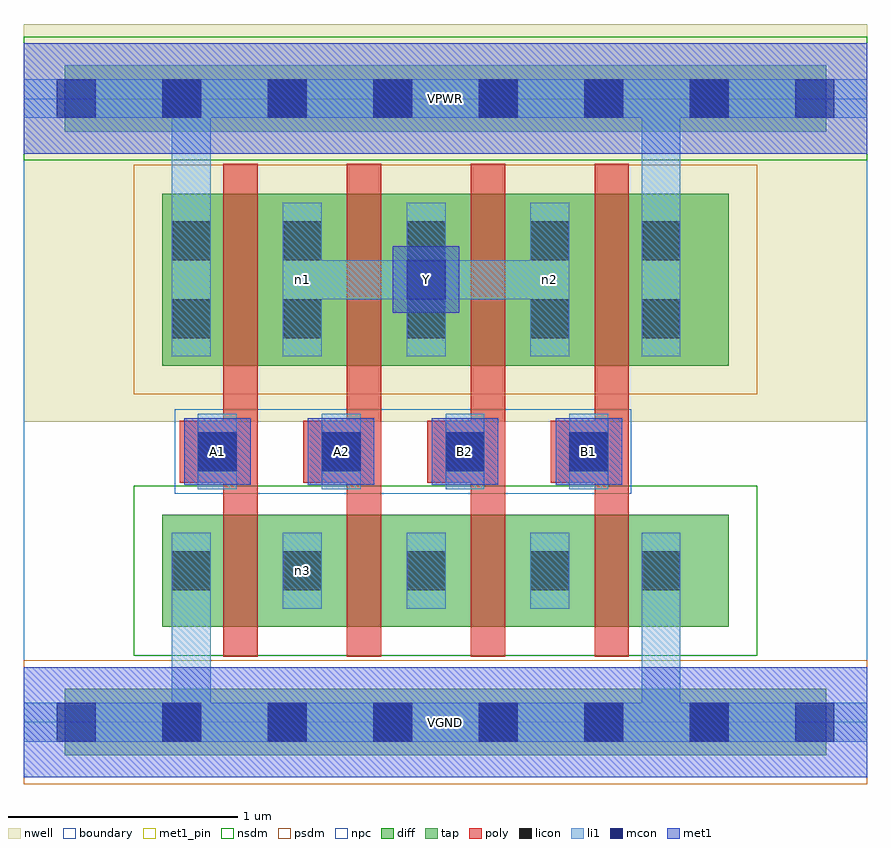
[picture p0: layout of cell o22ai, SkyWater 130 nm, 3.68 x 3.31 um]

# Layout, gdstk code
import gdstk
lib = gdstk.Library(unit=1e-6, precision=1e-09)
def R(c, l, rs):  # rectangles x0, y0, x1, y1
    for r in rs: c.add(gdstk.rectangle(r[:2], r[2:], *l))
def A(c, l, x, y, w, h, nx, ny, dx, dy):  # array of equal rectangles
    R(c, l, [(x+i*dx, y+j*dy, x+i*dx+w, y+j*dy+h) for i in range(nx) for j in range(ny)])
nwell = (64, 20)
diff = (65, 20)
tap = (65, 44)
poly = (66, 20)
licon = (66, 44)
li1 = (67, 20)
mcon = (67, 44)
met1_pin = (68, 16)
met1 = (68, 20)
nsdm = (93, 44)
psdm = (94, 20)
npc = (95, 20)
boundary = (235, 4)

o22ai = lib.new_cell('o22ai')
R(o22ai, nwell, [(0,1.31,3.68,3.045)])
R(o22ai, diff, [(0.605,0.415,3.075,0.905), (0.605,1.555,3.075,2.305)])
R(o22ai, tap, [(0.18,-0.145,3.5,0.145), (0.18,2.575,3.5,2.865)])
A(o22ai, poly, 0.87, 0.285, 0.15, 2.15, 4, 1, 0.54, 0)
A(o22ai, poly, 0.68, 1.045, 0.33, 0.27, 4, 1, 0.54, 0)
A(o22ai, licon, 0.605, -0.085, 0.17, 0.17, 6, 2, 0.46, 2.72)
A(o22ai, licon, 1.13, 0.575, 0.17, 0.17, 3, 2, 0.54, 1.1)
A(o22ai, licon, 0.76, 1.095, 0.17, 0.17, 4, 1, 0.54, 0)
A(o22ai, licon, 1.13, 2.015, 0.17, 0.17, 3, 1, 0.54, 0)
R(o22ai, licon, [(0.645,0.575,0.815,0.745), (2.695,0.575,2.865,0.745), (0.645,1.675,0.815,1.845), (2.695,1.675,2.865,1.845), (0.645,2.015,0.815,2.185), (2.695,2.015,2.865,2.185)])
A(o22ai, li1, 1.13, 0.495, 0.17, 0.33, 3, 1, 0.54, 0)
A(o22ai, li1, 0.76, 1.015, 0.17, 0.33, 4, 1, 0.54, 0)
A(o22ai, li1, 1.13, 1.595, 0.17, 0.67, 3, 1, 0.54, 0)
R(o22ai, li1, [(0,-0.085,3.68,0.085), (0.645,-0.085,0.815,0.825), (2.695,-0.085,2.865,0.825), (0.645,0.495,0.815,0.825), (2.695,0.495,2.865,0.825), (0.645,1.595,0.815,2.265), (0.645,1.595,0.815,2.805), (2.695,1.595,2.865,2.265), (2.695,1.595,2.865,2.805), (1.13,1.845,1.84,2.015), (1.67,1.845,2.38,2.015), (0,2.635,3.68,2.805)])
A(o22ai, mcon, 0.145, -0.085, 0.17, 0.17, 8, 2, 0.46, 2.72)
A(o22ai, mcon, 0.76, 1.095, 0.17, 0.17, 4, 1, 0.54, 0)
R(o22ai, mcon, [(1.67,1.845,1.84,2.015)])
A(o22ai, met1_pin, 0.7, 1.035, 0.29, 0.29, 4, 1, 0.54, 0)
R(o22ai, met1_pin, [(0,-0.24,3.68,0.24), (1.61,1.785,1.9,2.075), (0,2.48,3.68,2.96)])
A(o22ai, met1, 0.7, 1.035, 0.29, 0.29, 4, 1, 0.54, 0)
R(o22ai, met1, [(0,-0.24,3.68,0.24), (1.61,1.785,1.9,2.075), (0,2.48,3.68,2.96)])
R(o22ai, nsdm, [(0.48,0.29,3.2,1.03), (0,2.45,3.68,2.99)])
R(o22ai, psdm, [(0,-0.27,3.68,0.27), (0.48,1.43,3.2,2.43)])
R(o22ai, npc, [(0.66,0.995,2.65,1.365)])
R(o22ai, boundary, [(0,0,3.68,2.72)])
o22ai.add(gdstk.Label('n1', (1.215,1.93), layer=67, texttype=5))
o22ai.add(gdstk.Label('n2', (2.295,1.93), layer=67, texttype=5))
o22ai.add(gdstk.Label('n3', (1.215,0.66), layer=67, texttype=5))
o22ai.add(gdstk.Label('A1', (0.845,1.18), layer=68, texttype=5))
o22ai.add(gdstk.Label('A2', (1.385,1.18), layer=68, texttype=5))
o22ai.add(gdstk.Label('B1', (2.465,1.18), layer=68, texttype=5))
o22ai.add(gdstk.Label('B2', (1.925,1.18), layer=68, texttype=5))
o22ai.add(gdstk.Label('Y', (1.755,1.93), layer=68, texttype=5))
o22ai.add(gdstk.Label('VPWR', (1.84,2.72), layer=68, texttype=5))
o22ai.add(gdstk.Label('VGND', (1.84,0), layer=68, texttype=5))
o22ai.add(gdstk.Label('A1', (0.845,1.18), layer=68, texttype=16))
o22ai.add(gdstk.Label('A2', (1.385,1.18), layer=68, texttype=16))
o22ai.add(gdstk.Label('B1', (2.465,1.18), layer=68, texttype=16))
o22ai.add(gdstk.Label('B2', (1.925,1.18), layer=68, texttype=16))
o22ai.add(gdstk.Label('Y', (1.755,1.93), layer=68, texttype=16))
o22ai.add(gdstk.Label('VPWR', (1.84,2.72), layer=68, texttype=16))
o22ai.add(gdstk.Label('VGND', (1.84,0), layer=68, texttype=16))

lib.write_gds('o22ai.gds')
